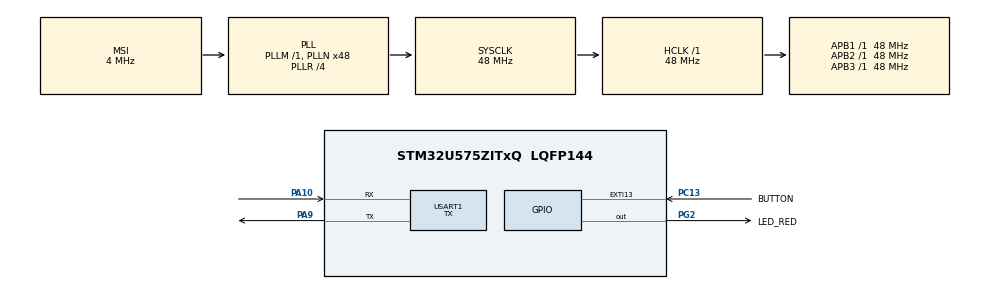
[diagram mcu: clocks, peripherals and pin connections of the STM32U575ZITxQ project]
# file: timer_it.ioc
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CORTEX_M33_NS.userName=CORTEX_M33
Mcu.Family=STM32U5
Mcu.Name=STM32U575ZITxQ
Mcu.Package=LQFP144
NVIC.EXTI13_IRQn=true\:5\:0\:true\:false\:true\:true\:true\:true
NVIC.PriorityGroup=NVIC_PRIORITYGROUP_4
NVIC.TIM2_IRQn=true\:5\:0\:true\:false\:true\:true\:true\:true
PA10.Mode=Asynchronous
PA10.Signal=USART1_RX
PA9.Mode=Asynchronous
PA9.Signal=USART1_TX
PC13.GPIO_Label=BUTTON
PC13.GPIO_ModeDefaultEXTI=GPIO_MODE_IT_RISING_FALLING
PC13.Signal=GPXTI13
PC14-OSC32_IN\ (PC14).Mode=LSE-External-Oscillator
PC14-OSC32_IN\ (PC14).Signal=RCC_OSC32_IN
PC15-OSC32_OUT\ (PC15).Mode=LSE-External-Oscillator
PC15-OSC32_OUT\ (PC15).Signal=RCC_OSC32_OUT
PG2.GPIO_Label=LED_RED
PG2.Signal=GPIO_Output
PWR.PowerMode=PWR_SMPS_SUPPLY
ProjectManager.HeapSize=0x200
ProjectManager.StackSize=0x400
ProjectManager.TargetToolchain=STM32CubeIDE
RCC.ADCFreq_Value=16000000
RCC.AHBFreq_Value=48000000
RCC.APB1Freq_Value=48000000
RCC.APB1TimFreq_Value=48000000
RCC.APB2Freq_Value=48000000
RCC.APB2TimFreq_Value=48000000
RCC.APB3Freq_Value=48000000
RCC.CortexFreq_Value=48000000
RCC.EPOD_VALUE=4000000
RCC.HCLKFreq_Value=48000000
RCC.HSE_VALUE=16000000
RCC.HSI48_VALUE=48000000
RCC.HSI_VALUE=16000000
RCC.LSIDIV_VALUE=32000
RCC.MSIAutoCalibration=PLLMODE_MSIS
RCC.MSI_VALUE=4000000
RCC.PLL1R=4
RCC.PLLN=48
RCC.SYSCLKFreq_VALUE=48000000
RCC.SYSCLKSource=RCC_SYSCLKSOURCE_PLLCLK
RCC.USBFreq_Value=48000000
RCC.VCOOutputFreq_Value=192000000
TIM2.PeriodNoDither=499999
TIM2.Prescaler=47
USART1.Mode=MODE_TX
USART1.VirtualMode-Asynchronous=VM_ASYNC
VP_ICACHE_VS_ICACHE.Mode=DirectMappedCache
VP_LPBAMQUEUE_VS_QUEUE.Mode=QUEUEMODE
VP_LPBAM_VS_SIG1.Mode=SmartRun
VP_LPBAM_VS_SIG4.Mode=LPDMA1
VP_MEMORYMAP_VS_MEMORYMAP.Mode=CurAppReg
VP_PWR_VS_LPOM.Mode=PowerOptimisation
VP_PWR_VS_SECSignals.Mode=Security/Privilege
VP_TIM2_VS_ClockSourceINT.Mode=Internal
board=custom

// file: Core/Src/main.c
/* USER CODE BEGIN Header */
/**
  ******************************************************************************
  * @file           : main.c
  * @brief          : Main program body
  ******************************************************************************
  * @attention
  *
  * Copyright (c) 2025 STMicroelectronics.
  * All rights reserved.
  *
  * This software is licensed under terms that can be found in the LICENSE file
  * in the root directory of this software component.
  * If no LICENSE file comes with this software, it is provided AS-IS.
  *
  ******************************************************************************
  */
/* USER CODE END Header */
#include "main.h"

/* USER CODE BEGIN Includes */
#include <stdio.h>
#include "interrupt_callbacks.h"
/* USER CODE END Includes */

TIM_HandleTypeDef htim2;

UART_HandleTypeDef huart1;

void SystemClock_Config(void);
static void SystemPower_Config(void);
static void MX_GPIO_Init(void);
static void MX_ICACHE_Init(void);
static void MX_USART1_UART_Init(void);
static void MX_TIM2_Init(void);

/* USER CODE BEGIN 0 */
void delay_us(uint32_t us)
{
	uint32_t start = __HAL_TIM_GET_COUNTER(&htim2);
	while ((__HAL_TIM_GET_COUNTER(&htim2) - start) < us);
}
/* USER CODE END 0 */

int main(void)
{

  /* MCU Configuration--------------------------------------------------------*/

  /* Reset of all peripherals, Initializes the Flash interface and the Systick. */
  HAL_Init();

  /* Configure the System Power */
  SystemPower_Config();

  /* Configure the system clock */
  SystemClock_Config();

  /* Initialize all configured peripherals */
  MX_GPIO_Init();
  MX_ICACHE_Init();
  MX_USART1_UART_Init();
  MX_TIM2_Init();
  /* USER CODE BEGIN 2 */
  printf("\r******* Start *******\r\n");
  HAL_StatusTypeDef status = HAL_TIM_Base_Start_IT(&htim2);
  if (status != HAL_OK) {
	  printf("Failed to start timer\r\n");
  }
  /* USER CODE END 2 */

  /* Infinite loop */
  /* USER CODE BEGIN WHILE */
  while (1)
  {
	  if (button_rising) {
		  button_rising = 0U;
	  }

	  if (button_falling) {
		  button_falling = 0U;
	  }

	  if (timer_rollover) {
		  timer_rollover = 0U;
		  HAL_GPIO_TogglePin(LED_RED_GPIO_Port, LED_RED_Pin);
	  }
    /* USER CODE END WHILE */

  }
}

void SystemClock_Config(void)
{
  RCC_OscInitTypeDef RCC_OscInitStruct = {0};
  RCC_ClkInitTypeDef RCC_ClkInitStruct = {0};

  /** Configure the main internal regulator output voltage
  */
  if (HAL_PWREx_ControlVoltageScaling(PWR_REGULATOR_VOLTAGE_SCALE3) != HAL_OK)
  {
    Error_Handler();
  }

  /** Configure LSE Drive Capability
  */
  HAL_PWR_EnableBkUpAccess();
  __HAL_RCC_LSEDRIVE_CONFIG(RCC_LSEDRIVE_LOW);

  /** Initializes the CPU, AHB and APB buses clocks
  */
  RCC_OscInitStruct.OscillatorType = RCC_OSCILLATORTYPE_LSE|RCC_OSCILLATORTYPE_MSI;
  RCC_OscInitStruct.LSEState = RCC_LSE_ON;
  RCC_OscInitStruct.MSIState = RCC_MSI_ON;
  RCC_OscInitStruct.MSICalibrationValue = RCC_MSICALIBRATION_DEFAULT;
  RCC_OscInitStruct.MSIClockRange = RCC_MSIRANGE_4;
  RCC_OscInitStruct.PLL.PLLState = RCC_PLL_ON;
  RCC_OscInitStruct.PLL.PLLSource = RCC_PLLSOURCE_MSI;
  RCC_OscInitStruct.PLL.PLLMBOOST = RCC_PLLMBOOST_DIV1;
  RCC_OscInitStruct.PLL.PLLM = 1;
  RCC_OscInitStruct.PLL.PLLN = 48;
  RCC_OscInitStruct.PLL.PLLP = 2;
  RCC_OscInitStruct.PLL.PLLQ = 2;
  RCC_OscInitStruct.PLL.PLLR = 4;
  RCC_OscInitStruct.PLL.PLLRGE = RCC_PLLVCIRANGE_0;
  RCC_OscInitStruct.PLL.PLLFRACN = 0;
  if (HAL_RCC_OscConfig(&RCC_OscInitStruct) != HAL_OK)
  {
    Error_Handler();
  }

  /** Initializes the CPU, AHB and APB buses clocks
  */
  RCC_ClkInitStruct.ClockType = RCC_CLOCKTYPE_HCLK|RCC_CLOCKTYPE_SYSCLK
                              |RCC_CLOCKTYPE_PCLK1|RCC_CLOCKTYPE_PCLK2
                              |RCC_CLOCKTYPE_PCLK3;
  RCC_ClkInitStruct.SYSCLKSource = RCC_SYSCLKSOURCE_PLLCLK;
  RCC_ClkInitStruct.AHBCLKDivider = RCC_SYSCLK_DIV1;
  RCC_ClkInitStruct.APB1CLKDivider = RCC_HCLK_DIV1;
  RCC_ClkInitStruct.APB2CLKDivider = RCC_HCLK_DIV1;
  RCC_ClkInitStruct.APB3CLKDivider = RCC_HCLK_DIV1;

  if (HAL_RCC_ClockConfig(&RCC_ClkInitStruct, FLASH_LATENCY_1) != HAL_OK)
  {
    Error_Handler();
  }

  /** Enable MSI Auto calibration
  */
  HAL_RCCEx_EnableMSIPLLModeSelection(RCC_MSISPLL_MODE_SEL);
  HAL_RCCEx_EnableMSIPLLMode();
}

/**
  * @brief Power Configuration
  * @retval None
  */
static void SystemPower_Config(void)
{
  HAL_PWREx_EnableVddIO2();

  /*
   * Switch to SMPS regulator instead of LDO
   */
  if (HAL_PWREx_ConfigSupply(PWR_SMPS_SUPPLY) != HAL_OK)
  {
    Error_Handler();
  }
}

static void MX_ICACHE_Init(void)
{

  /** Enable instruction cache in 1-way (direct mapped cache)
  */
  if (HAL_ICACHE_ConfigAssociativityMode(ICACHE_1WAY) != HAL_OK)
  {
    Error_Handler();
  }
  if (HAL_ICACHE_Enable() != HAL_OK)
  {
    Error_Handler();
  }

}

static void MX_TIM2_Init(void)
{

  TIM_ClockConfigTypeDef sClockSourceConfig = {0};
  TIM_MasterConfigTypeDef sMasterConfig = {0};

  htim2.Instance = TIM2;
  htim2.Init.Prescaler = 47;
  htim2.Init.CounterMode = TIM_COUNTERMODE_UP;
  htim2.Init.Period = 499999;
  htim2.Init.ClockDivision = TIM_CLOCKDIVISION_DIV1;
  htim2.Init.AutoReloadPreload = TIM_AUTORELOAD_PRELOAD_DISABLE;
  if (HAL_TIM_Base_Init(&htim2) != HAL_OK)
  {
    Error_Handler();
  }
  sClockSourceConfig.ClockSource = TIM_CLOCKSOURCE_INTERNAL;
  if (HAL_TIM_ConfigClockSource(&htim2, &sClockSourceConfig) != HAL_OK)
  {
    Error_Handler();
  }
  sMasterConfig.MasterOutputTrigger = TIM_TRGO_RESET;
  sMasterConfig.MasterSlaveMode = TIM_MASTERSLAVEMODE_DISABLE;
  if (HAL_TIMEx_MasterConfigSynchronization(&htim2, &sMasterConfig) != HAL_OK)
  {
    Error_Handler();
  }

}

static void MX_USART1_UART_Init(void)
{

  huart1.Instance = USART1;
  huart1.Init.BaudRate = 115200;
  huart1.Init.WordLength = UART_WORDLENGTH_8B;
  huart1.Init.StopBits = UART_STOPBITS_1;
  huart1.Init.Parity = UART_PARITY_NONE;
  huart1.Init.Mode = UART_MODE_TX;
  huart1.Init.HwFlowCtl = UART_HWCONTROL_NONE;
  huart1.Init.OverSampling = UART_OVERSAMPLING_16;
  huart1.Init.OneBitSampling = UART_ONE_BIT_SAMPLE_DISABLE;
  huart1.Init.ClockPrescaler = UART_PRESCALER_DIV1;
  huart1.AdvancedInit.AdvFeatureInit = UART_ADVFEATURE_NO_INIT;
  if (HAL_UART_Init(&huart1) != HAL_OK)
  {
    Error_Handler();
  }
  if (HAL_UARTEx_SetTxFifoThreshold(&huart1, UART_TXFIFO_THRESHOLD_1_8) != HAL_OK)
  {
    Error_Handler();
  }
  if (HAL_UARTEx_SetRxFifoThreshold(&huart1, UART_RXFIFO_THRESHOLD_1_8) != HAL_OK)
  {
    Error_Handler();
  }
  if (HAL_UARTEx_DisableFifoMode(&huart1) != HAL_OK)
  {
    Error_Handler();
  }

}

static void MX_GPIO_Init(void)
{
  GPIO_InitTypeDef GPIO_InitStruct = {0};

  /* GPIO Ports Clock Enable */
  __HAL_RCC_GPIOC_CLK_ENABLE();
  __HAL_RCC_GPIOG_CLK_ENABLE();
  __HAL_RCC_GPIOA_CLK_ENABLE();

  /*Configure GPIO pin Output Level */
  HAL_GPIO_WritePin(LED_RED_GPIO_Port, LED_RED_Pin, GPIO_PIN_RESET);

  /*Configure GPIO pin : BUTTON_Pin */
  GPIO_InitStruct.Pin = BUTTON_Pin;
  GPIO_InitStruct.Mode = GPIO_MODE_IT_RISING_FALLING;
  GPIO_InitStruct.Pull = GPIO_NOPULL;
  HAL_GPIO_Init(BUTTON_GPIO_Port, &GPIO_InitStruct);

  /*Configure GPIO pin : LED_RED_Pin */
  GPIO_InitStruct.Pin = LED_RED_Pin;
  GPIO_InitStruct.Mode = GPIO_MODE_OUTPUT_PP;
  GPIO_InitStruct.Pull = GPIO_NOPULL;
  GPIO_InitStruct.Speed = GPIO_SPEED_FREQ_LOW;
  HAL_GPIO_Init(LED_RED_GPIO_Port, &GPIO_InitStruct);

  /* EXTI interrupt init*/
  HAL_NVIC_SetPriority(EXTI13_IRQn, 5, 0);
  HAL_NVIC_EnableIRQ(EXTI13_IRQn);

}

/* USER CODE BEGIN 4 */
int __io_putchar(int ch)
{
	// Transmit 1 character over UART
	HAL_UART_Transmit(&huart1, (uint8_t*)&ch, 1U, HAL_MAX_DELAY);

	return ch;
}
/* USER CODE END 4 */

void Error_Handler(void)
{
  __disable_irq();
  while (1)
  {
  }
}
